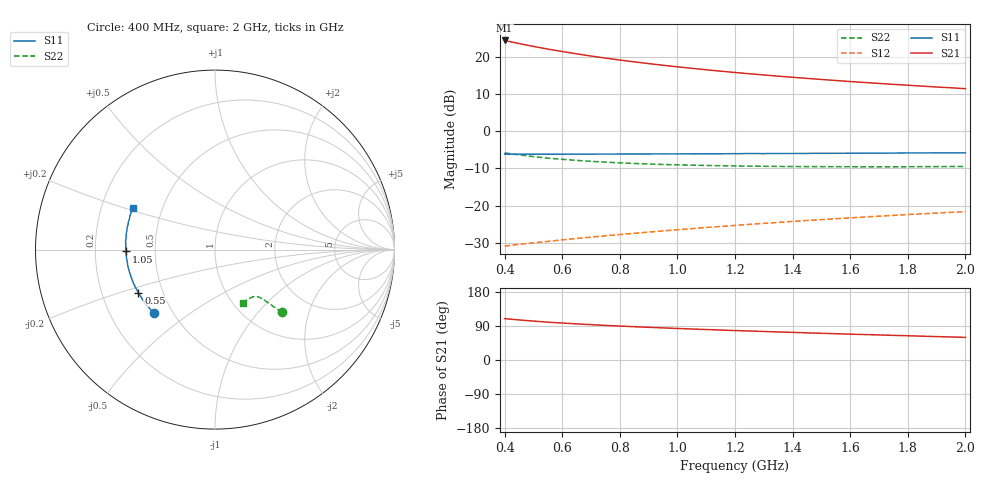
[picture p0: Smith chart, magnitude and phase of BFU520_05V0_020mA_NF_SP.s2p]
! Filename:  P:\Prog\Test\Noise\ATS_data\Testdata_Net\06 Compressed Noise after Statistics\BFU520_APG2013_37_A05_05p0V_020mA_NF_CM01_D.sf
! Date/Time: Fri 26/Apr/2013 14:13:11
! BFU520_APG2013_37_A05_05p0V_1to20mA_NF_CM01_Bias8_R.sf
! Noise Parameter Data File
! BFU520_APG2013_37_A05_05p0V_1to20mA_NF_CM01
! Date/time: Tue Apr 23 16:46:24 2013
! VAR V_out= 5.000000
! VAR I_out= 19.995000
! VAR V_in= 0.845300
! VAR I_in= 0.234250
! Device data file deembeded for feedlines and parallel
! Original file: \06 Compressed Noise after Statistics\BFU520_APG2013_37_A05_05p0V_020mA_NF_CM01_R.sf
! Feed-files: PR047V01_250413_Feed1.s2p, PR047V01_250413_Feed2.s2p
! Parallel-file: PR047V01_250413_Par.s2p
# MHz S MA R 50
!  Freq-MHz  S11-mag  S11-arg  S21-mag  S21-arg  S12-mag  S12-arg  S22-mag  S22-arg
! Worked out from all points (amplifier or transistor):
!   37 points, 400 MHz to 2 GHz, reference 50 ohm
!   highest |S21| = 24.4 dB at 400 MHz (marker M1)
!   |S21| within 3 dB of that: start of sweep to 601.7 MHz
!   unconditionally stable (mu >= 1): 1.229 GHz to end of sweep
!   at 500 MHz: K = 0.69, MSG = 26.4 dB, |S12| = -30.0 dB
!   at 1.1 GHz: K = 0.97, MSG = 21.2 dB, |S12| = -25.9 dB
!   at 2 GHz: K = 1.07, MAG = 15.0 dB, |S12| = -21.7 dB
!   lowest NFmin = 1.16 dB at 480 MHz
!   S11 on the Smith chart (normalised r, x): 400 MHz: 0.40, -0.37; 550 MHz: 0.36, -0.23; 1.05 GHz: 0.34, -0.01; 2 GHz: 0.34, +0.21
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400  0.4902 -134.1  16.68 109.2  0.02834 53.6  0.5107 -42.8
433  0.4897 -138.3  15.63 106.9  0.02942 53.5  0.49 -43.4
460  0.4901 -141.5  14.87 105.1  0.03028 53.6  0.4759 -43.8
480  0.4907 -143.6  14.36 103.9  0.03088 53.6  0.4649 -44.0
500  0.4904 -145.7  13.86 102.8  0.03147 53.7  0.4559 -44.3
550  0.4897 -150.6  12.78 99.9  0.03282 54.2  0.4338 -44.5
600  0.4904 -154.5  11.84 97.5  0.03447 54.7  0.4187 -45.0
650  0.4915 -158.2  11.01 95.3  0.03599 55.1  0.4047 -45.5
700  0.4916 -161.2  10.29 93.3  0.03751 55.8  0.3933 -45.6
750  0.4923 -164.5  9.652 91.3  0.03909 56.3  0.3839 -46.0
800  0.4932 -167.1  9.09 89.6  0.04065 56.9  0.3751 -46.4
850  0.4942 -169.7  8.591 87.9  0.04223 57.3  0.3679 -46.7
900  0.4939 -172.3  8.136 86.2  0.04384 57.9  0.3622 -47.2
950  0.4955 -174.4  7.735 84.7  0.04547 58.4  0.3567 -47.6
1050  0.4966 -178.8  7.029 81.8  0.04882 59.1  0.3493 -48.6
1150  0.4976 177.5  6.438 79.1  0.05224 59.9  0.3432 -49.6
1200  0.4989 175.7  6.179 77.7  0.05393 60.1  0.3408 -50.3
1350  0.5011 170.8  5.514 74.1  0.05921 60.9  0.3358 -52.2
1500  0.5043 166.2  4.976 70.5  0.06456 61.3  0.3335 -54.3
1600  0.5051 163.1  4.665 68.2  0.06813 61.4  0.3327 -55.9
1750  0.508 159.1  4.271 65.0  0.07359 61.6  0.3319 -58.3
2000  0.5118 153.1  3.738 59.7  0.08248 61.4  0.3352 -62.8
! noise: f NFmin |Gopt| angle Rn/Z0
400  1.264  0.2043  -174.6  0.1015
460  1.169  0.26  -172.1  0.0824
600  1.207  0.2505  -167.2  0.094
800  1.228  0.2617  -165.2  0.0885
1000  1.255  0.2788  -163.1  0.0851
1200  1.295  0.2818  -161.5  0.0892
1400  1.342  0.3046  -155.7  0.0816
1600  1.33  0.3072  -151.4  0.0983
1800  1.333  0.3256  -149.7  0.0936
2000  1.419  0.3428  -146  0.1011
